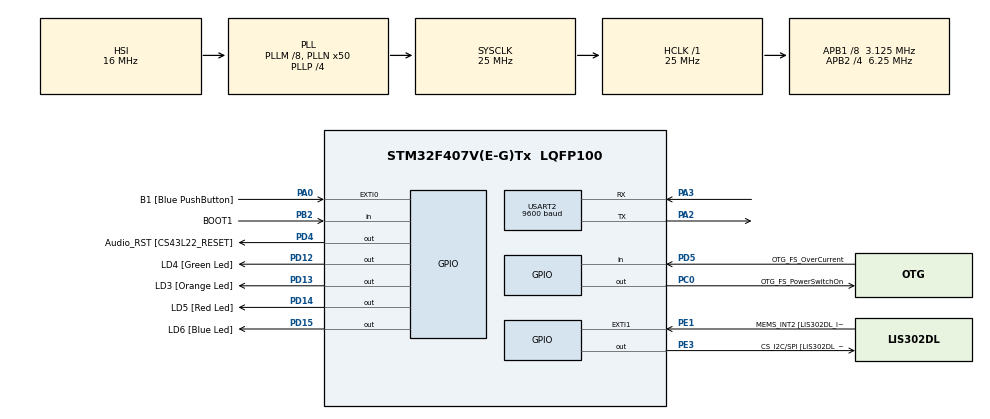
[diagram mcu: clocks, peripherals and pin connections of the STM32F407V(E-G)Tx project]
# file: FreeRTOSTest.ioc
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FREERTOS.Tasks01=defaultTask,0,128,StartDefaultTask,Default
Mcu.Family=STM32F4
Mcu.Name=STM32F407V(E-G)Tx
Mcu.Package=LQFP100
NVIC.PriorityGroup=NVIC_PRIORITYGROUP_4
NVIC.USART2_IRQn=true\:5\:0\:false\:false\:true\:true
PA0-WKUP.GPIO_Label=B1 [Blue PushButton]
PA0-WKUP.GPIO_ModeDefaultEXTI=GPIO_MODE_EVT_RISING
PA0-WKUP.GPIO_PuPd=GPIO_NOPULL
PA0-WKUP.Signal=GPXTI0
PA10.GPIO_Label=OTG_FS_ID
PA10.GPIO_Mode=GPIO_MODE_AF_PP
PA10.GPIO_PuPd=GPIO_NOPULL
PA10.GPIO_Speed=GPIO_SPEED_FREQ_LOW
PA10.Signal=USB_OTG_FS_ID
PA11.GPIO_Label=OTG_FS_DM
PA11.GPIO_Mode=GPIO_MODE_AF_PP
PA11.GPIO_PuPd=GPIO_NOPULL
PA11.GPIO_Speed=GPIO_SPEED_FREQ_LOW
PA11.Signal=USB_OTG_FS_DM
PA12.GPIO_Label=OTG_FS_DP
PA12.GPIO_Mode=GPIO_MODE_AF_PP
PA12.GPIO_PuPd=GPIO_NOPULL
PA12.GPIO_Speed=GPIO_SPEED_FREQ_LOW
PA12.Signal=USB_OTG_FS_DP
PA13.GPIO_Label=SWDIO
PA13.Signal=SYS_JTMS-SWDIO
PA14.GPIO_Label=SWCLK
PA14.Signal=SYS_JTCK-SWCLK
PA2.Mode=Asynchronous
PA2.Signal=USART2_TX
PA3.Mode=Asynchronous
PA3.Signal=USART2_RX
PA4.GPIO_Label=I2S3_WS [CS43L22_LRCK]
PA4.GPIO_Mode=GPIO_MODE_AF_PP
PA4.GPIO_PuPd=GPIO_NOPULL
PA4.GPIO_Speed=GPIO_SPEED_FREQ_LOW
PA4.Signal=I2S3_WS
PA5.GPIO_Label=SPI1_SCK [LIS302DL_SCL/SPC]
PA5.GPIO_Mode=GPIO_MODE_AF_PP
PA5.GPIO_PuPd=GPIO_NOPULL
PA5.GPIO_Speed=GPIO_SPEED_FREQ_LOW
PA5.Signal=SPI1_SCK
PA6.GPIO_Label=SPI1_MISO [LIS302DL_SDO]
PA6.GPIO_Mode=GPIO_MODE_AF_PP
PA6.GPIO_PuPd=GPIO_NOPULL
PA6.GPIO_Speed=GPIO_SPEED_FREQ_LOW
PA6.Signal=SPI1_MISO
PA7.GPIO_Label=SPI1_MOSI [LIS302DL_SDA/SDI/SDO]
PA7.GPIO_Mode=GPIO_MODE_AF_PP
PA7.GPIO_PuPd=GPIO_NOPULL
PA7.GPIO_Speed=GPIO_SPEED_FREQ_LOW
PA7.Signal=SPI1_MOSI
PA9.GPIO_Label=VBUS_FS
PA9.GPIO_Mode=GPIO_MODE_INPUT
PA9.GPIO_PuPd=GPIO_NOPULL
PA9.Signal=USB_OTG_FS_VBUS
PB10.GPIO_Label=CLK_IN [MP45DT02_CLK]
PB10.GPIO_Mode=GPIO_MODE_AF_PP
PB10.GPIO_PuPd=GPIO_NOPULL
PB10.GPIO_Speed=GPIO_SPEED_FREQ_LOW
PB10.Signal=I2S2_CK
PB2.GPIO_Label=BOOT1
PB2.GPIO_Mode=GPIO_MODE_INPUT
PB2.GPIO_PuPd=GPIO_NOPULL
PB2.Signal=GPIO_Input
PB3.GPIO_Label=SWO
PB3.Signal=SYS_JTDO-SWO
PB6.GPIO_Label=Audio_SCL [CS43L22_SCL]
PB6.GPIO_Mode=GPIO_MODE_AF_OD
PB6.GPIO_PuPd=GPIO_NOPULL
PB6.GPIO_Speed=GPIO_SPEED_FREQ_LOW
PB6.Signal=I2C1_SCL
PB9.GPIO_Label=Audio_SDA [CS43L22_SDA]
PB9.GPIO_Mode=GPIO_MODE_AF_OD
PB9.GPIO_PuPd=GPIO_NOPULL
PB9.GPIO_Speed=GPIO_SPEED_FREQ_LOW
PB9.Signal=I2C1_SDA
PC0.GPIO_Label=OTG_FS_PowerSwitchOn
PC0.GPIO_PuPd=GPIO_NOPULL
PC0.GPIO_Speed=GPIO_SPEED_FREQ_LOW
PC0.Signal=GPIO_Output
PC10.GPIO_Label=I2S3_SCK [CS43L22_SCLK]
PC10.GPIO_Mode=GPIO_MODE_AF_PP
PC10.GPIO_PuPd=GPIO_NOPULL
PC10.GPIO_Speed=GPIO_SPEED_FREQ_LOW
PC10.Signal=I2S3_CK
PC12.GPIO_Label=I2S3_SD [CS43L22_SDIN]
PC12.GPIO_Mode=GPIO_MODE_AF_PP
PC12.GPIO_PuPd=GPIO_NOPULL
PC12.GPIO_Speed=GPIO_SPEED_FREQ_LOW
PC12.Signal=I2S3_SD
PC14-OSC32_IN.GPIO_Label=PC14-OSC32_IN
PC14-OSC32_IN.Signal=RCC_OSC32_IN
PC15-OSC32_OUT.GPIO_Label=PC15-OSC32_OUT
PC15-OSC32_OUT.Signal=RCC_OSC32_OUT
PC3.GPIO_Label=PDM_OUT [MP45DT02_DOUT]
PC3.GPIO_Mode=GPIO_MODE_AF_PP
PC3.GPIO_PuPd=GPIO_NOPULL
PC3.GPIO_Speed=GPIO_SPEED_FREQ_LOW
PC3.Signal=I2S2_SD
PC7.GPIO_Label=I2S3_MCK [CS43L22_MCLK]
PC7.GPIO_Mode=GPIO_MODE_AF_PP
PC7.GPIO_PuPd=GPIO_NOPULL
PC7.GPIO_Speed=GPIO_SPEED_FREQ_LOW
PC7.Signal=I2S3_MCK
PD12.GPIO_Label=LD4 [Green Led]
PD12.GPIO_PuPd=GPIO_NOPULL
PD12.GPIO_Speed=GPIO_SPEED_FREQ_LOW
PD12.Signal=GPIO_Output
PD13.GPIO_Label=LD3 [Orange Led]
PD13.GPIO_PuPd=GPIO_NOPULL
PD13.GPIO_Speed=GPIO_SPEED_FREQ_LOW
PD13.Signal=GPIO_Output
PD14.GPIO_Label=LD5 [Red Led]
PD14.GPIO_PuPd=GPIO_NOPULL
PD14.GPIO_Speed=GPIO_SPEED_FREQ_LOW
PD14.Signal=GPIO_Output
PD15.GPIO_Label=LD6 [Blue Led]
PD15.GPIO_PuPd=GPIO_NOPULL
PD15.GPIO_Speed=GPIO_SPEED_FREQ_LOW
PD15.Signal=GPIO_Output
PD4.GPIO_Label=Audio_RST [CS43L22_RESET]
PD4.GPIO_PuPd=GPIO_NOPULL
PD4.GPIO_Speed=GPIO_SPEED_FREQ_LOW
PD4.Signal=GPIO_Output
PD5.GPIO_Label=OTG_FS_OverCurrent
PD5.GPIO_Mode=GPIO_MODE_INPUT
PD5.GPIO_PuPd=GPIO_NOPULL
PD5.Signal=GPIO_Input
PE1.GPIO_Label=MEMS_INT2 [LIS302DL_INT2]
PE1.GPIO_ModeDefaultEXTI=GPIO_MODE_EVT_RISING
PE1.GPIO_PuPd=GPIO_NOPULL
PE1.Signal=GPXTI1
PE3.GPIO_Label=CS_I2C/SPI [LIS302DL_CS_I2C/SPI]
PE3.GPIO_PuPd=GPIO_NOPULL
PE3.GPIO_Speed=GPIO_SPEED_FREQ_LOW
PE3.Signal=GPIO_Output
PH0-OSC_IN.GPIO_Label=PH0-OSC_IN
PH0-OSC_IN.Signal=RCC_OSC_IN
PH1-OSC_OUT.GPIO_Label=PH1-OSC_OUT
PH1-OSC_OUT.Signal=RCC_OSC_OUT
ProjectManager.HeapSize=0x200
ProjectManager.StackSize=0x400
ProjectManager.TargetToolchain=EWARM
RCC.48MHZClocksFreq_Value=14285714.285714285
RCC.AHBFreq_Value=25000000
RCC.APB1CLKDivider=RCC_HCLK_DIV8
RCC.APB1Freq_Value=3125000
RCC.APB1TimFreq_Value=6250000
RCC.APB2CLKDivider=RCC_HCLK_DIV4
RCC.APB2Freq_Value=6250000
RCC.APB2TimFreq_Value=12500000
RCC.CortexFreq_Value=25000000
RCC.HCLKFreq_Value=25000000
RCC.HSE_VALUE=8000000
RCC.HSI_VALUE=16000000
RCC.LSE_VALUE=32768
RCC.PLLM=8
RCC.PLLN=50
RCC.PLLP=RCC_PLLP_DIV4
RCC.PLLQ=7
RCC.SYSCLKFreq_VALUE=25000000
RCC.SYSCLKSource=RCC_SYSCLKSOURCE_PLLCLK
RCC.VCOOutputFreq_Value=100000000
USART2.BaudRate=9600
VP_FREERTOS_VS_ENABLE.Mode=Enabled
board=STM32F4DISCOVERY

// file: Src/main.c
/**
  ******************************************************************************
  * File Name          : main.c
  * Description        : Main program body
  ******************************************************************************
  *
  * COPYRIGHT(c) 2016 STMicroelectronics
  *
  * Redistribution and use in source and binary forms, with or without modification,
  * are permitted provided that the following conditions are met:
  *   1. Redistributions of source code must retain the above copyright notice,
  *      this list of conditions and the following disclaimer.
  *   2. Redistributions in binary form must reproduce the above copyright notice,
  *      this list of conditions and the following disclaimer in the documentation
  *      and/or other materials provided with the distribution.
  *   3. Neither the name of STMicroelectronics nor the names of its contributors
  *      may be used to endorse or promote products derived from this software
  *      without specific prior written permission.
  *
  * THIS SOFTWARE IS PROVIDED BY THE COPYRIGHT HOLDERS AND CONTRIBUTORS "AS IS"
  * AND ANY EXPRESS OR IMPLIED WARRANTIES, INCLUDING, BUT NOT LIMITED TO, THE
  * IMPLIED WARRANTIES OF MERCHANTABILITY AND FITNESS FOR A PARTICULAR PURPOSE ARE
  * DISCLAIMED. IN NO EVENT SHALL THE COPYRIGHT HOLDER OR CONTRIBUTORS BE LIABLE
  * FOR ANY DIRECT, INDIRECT, INCIDENTAL, SPECIAL, EXEMPLARY, OR CONSEQUENTIAL
  * DAMAGES (INCLUDING, BUT NOT LIMITED TO, PROCUREMENT OF SUBSTITUTE GOODS OR
  * SERVICES; LOSS OF USE, DATA, OR PROFITS; OR BUSINESS INTERRUPTION) HOWEVER
  * CAUSED AND ON ANY THEORY OF LIABILITY, WHETHER IN CONTRACT, STRICT LIABILITY,
  * OR TORT (INCLUDING NEGLIGENCE OR OTHERWISE) ARISING IN ANY WAY OUT OF THE USE
  * OF THIS SOFTWARE, EVEN IF ADVISED OF THE POSSIBILITY OF SUCH DAMAGE.
  *
  ******************************************************************************
  */
#include "stm32f4xx_hal.h"
#include "cmsis_os.h"

/* USER CODE BEGIN Includes */
#include "debug.h"
#include "debug_uart.h"
#include "cola.h"

/* USER CODE END Includes */

UART_HandleTypeDef huart2;

osThreadId defaultTaskHandle;

/* USER CODE BEGIN PV */
/* Private variables ---------------------------------------------------------*/
static char *msg_error = "***ERROR*** cola_leer() = -1 ????? \r\n" ;

#define BUFFER_SIZE 1024
static unsigned char buffer[BUFFER_SIZE];
static SemaphoreHandle_t semaforo_debug_isruart;
static int buffer_indice;
static int buffer_indice_max;
static BaseType_t xHigherPriorityTaskWoken;

/* USER CODE END PV */

void SystemClock_Config(void);
void Error_Handler(void);
static void MX_GPIO_Init(void);
static void MX_USART2_UART_Init(void);
void StartDefaultTask(void const * argument);

/* USER CODE BEGIN PFP */
/* Private function prototypes -----------------------------------------------*/

/* USER CODE END PFP */

int main(void)
{

  /* MCU Configuration----------------------------------------------------------*/

  /* Reset of all peripherals, Initializes the Flash interface and the Systick. */
  HAL_Init();

  /* Configure the system clock */
  SystemClock_Config();

  /* Initialize all configured peripherals */
  MX_GPIO_Init();
  MX_USART2_UART_Init();
  //inicializar cola+mutex para almacenar mensajes
  cola_init(&colaDebug);
  //inicializar semaforo compartido entre tarea debuj y la isr de la UART
  semaforo_debug_isruart = xSemaphoreCreateBinary();

  /* Create the thread(s) */
  /* definition and creation of defaultTask */
  osThreadDef(defaultTask, StartDefaultTask, osPriorityNormal, 0, 128);
  defaultTaskHandle = osThreadCreate(osThread(defaultTask), NULL);

  /* Start scheduler */
  osKernelStart();

  /* We should never get here as control is now taken by the scheduler */

  /* Infinite loop */
  while (1)
  {

  }

}

/** System Clock Configuration
*/
void SystemClock_Config(void)
{

  RCC_OscInitTypeDef RCC_OscInitStruct;
  RCC_ClkInitTypeDef RCC_ClkInitStruct;

  __HAL_RCC_PWR_CLK_ENABLE();

  __HAL_PWR_VOLTAGESCALING_CONFIG(PWR_REGULATOR_VOLTAGE_SCALE1);

  RCC_OscInitStruct.OscillatorType = RCC_OSCILLATORTYPE_HSI;
  RCC_OscInitStruct.HSIState = RCC_HSI_ON;
  RCC_OscInitStruct.HSICalibrationValue = 16;
  RCC_OscInitStruct.PLL.PLLState = RCC_PLL_ON;
  RCC_OscInitStruct.PLL.PLLSource = RCC_PLLSOURCE_HSI;
  RCC_OscInitStruct.PLL.PLLM = 8;
  RCC_OscInitStruct.PLL.PLLN = 50;
  RCC_OscInitStruct.PLL.PLLP = RCC_PLLP_DIV4;
  RCC_OscInitStruct.PLL.PLLQ = 7;
  if (HAL_RCC_OscConfig(&RCC_OscInitStruct) != HAL_OK)
  {
    Error_Handler();
  }

  RCC_ClkInitStruct.ClockType = RCC_CLOCKTYPE_HCLK|RCC_CLOCKTYPE_SYSCLK
                              |RCC_CLOCKTYPE_PCLK1|RCC_CLOCKTYPE_PCLK2;
  RCC_ClkInitStruct.SYSCLKSource = RCC_SYSCLKSOURCE_PLLCLK;
  RCC_ClkInitStruct.AHBCLKDivider = RCC_SYSCLK_DIV1;
  RCC_ClkInitStruct.APB1CLKDivider = RCC_HCLK_DIV8;
  RCC_ClkInitStruct.APB2CLKDivider = RCC_HCLK_DIV4;
  if (HAL_RCC_ClockConfig(&RCC_ClkInitStruct, FLASH_LATENCY_0) != HAL_OK)
  {
    Error_Handler();
  }

  HAL_SYSTICK_Config(HAL_RCC_GetHCLKFreq()/1000);

  HAL_SYSTICK_CLKSourceConfig(SYSTICK_CLKSOURCE_HCLK);

  /* SysTick_IRQn interrupt configuration */
  HAL_NVIC_SetPriority(SysTick_IRQn, 0, 0);
}

/* USART2 init function */
static void MX_USART2_UART_Init(void)
{

  huart2.Instance = USART2;
  huart2.Init.BaudRate = 9600;
  huart2.Init.WordLength = UART_WORDLENGTH_8B;
  huart2.Init.StopBits = UART_STOPBITS_1;
  huart2.Init.Parity = UART_PARITY_NONE;
  huart2.Init.Mode = UART_MODE_TX_RX;
  huart2.Init.HwFlowCtl = UART_HWCONTROL_NONE;
  huart2.Init.OverSampling = UART_OVERSAMPLING_16;
  if (HAL_UART_Init(&huart2) != HAL_OK)
  {
    Error_Handler();
  }

}

/** Configure pins as
        * Analog
        * Input
        * Output
        * EVENT_OUT
        * EXTI
     PC3   ------> I2S2_SD
     PA4   ------> I2S3_WS
     PA5   ------> SPI1_SCK
     PA6   ------> SPI1_MISO
     PA7   ------> SPI1_MOSI
     PB10   ------> I2S2_CK
     PC7   ------> I2S3_MCK
     PA9   ------> USB_OTG_FS_VBUS
     PA10   ------> USB_OTG_FS_ID
     PA11   ------> USB_OTG_FS_DM
     PA12   ------> USB_OTG_FS_DP
     PC10   ------> I2S3_CK
     PC12   ------> I2S3_SD
     PB6   ------> I2C1_SCL
     PB9   ------> I2C1_SDA
*/
static void MX_GPIO_Init(void)
{

  GPIO_InitTypeDef GPIO_InitStruct;

  /* GPIO Ports Clock Enable */
  __HAL_RCC_GPIOE_CLK_ENABLE();
  __HAL_RCC_GPIOC_CLK_ENABLE();
  __HAL_RCC_GPIOH_CLK_ENABLE();
  __HAL_RCC_GPIOA_CLK_ENABLE();
  __HAL_RCC_GPIOB_CLK_ENABLE();
  __HAL_RCC_GPIOD_CLK_ENABLE();

  /*Configure GPIO pin Output Level */
  HAL_GPIO_WritePin(CS_I2C_SPI_GPIO_Port, CS_I2C_SPI_Pin, GPIO_PIN_RESET);

  /*Configure GPIO pin Output Level */
  HAL_GPIO_WritePin(OTG_FS_PowerSwitchOn_GPIO_Port, OTG_FS_PowerSwitchOn_Pin, GPIO_PIN_RESET);

  /*Configure GPIO pin Output Level */
  HAL_GPIO_WritePin(GPIOD, LD4_Pin|LD3_Pin|LD5_Pin|LD6_Pin
                          |Audio_RST_Pin, GPIO_PIN_RESET);

  /*Configure GPIO pin : CS_I2C_SPI_Pin */
  GPIO_InitStruct.Pin = CS_I2C_SPI_Pin;
  GPIO_InitStruct.Mode = GPIO_MODE_OUTPUT_PP;
  GPIO_InitStruct.Pull = GPIO_NOPULL;
  GPIO_InitStruct.Speed = GPIO_SPEED_FREQ_LOW;
  HAL_GPIO_Init(CS_I2C_SPI_GPIO_Port, &GPIO_InitStruct);

  /*Configure GPIO pin : OTG_FS_PowerSwitchOn_Pin */
  GPIO_InitStruct.Pin = OTG_FS_PowerSwitchOn_Pin;
  GPIO_InitStruct.Mode = GPIO_MODE_OUTPUT_PP;
  GPIO_InitStruct.Pull = GPIO_NOPULL;
  GPIO_InitStruct.Speed = GPIO_SPEED_FREQ_LOW;
  HAL_GPIO_Init(OTG_FS_PowerSwitchOn_GPIO_Port, &GPIO_InitStruct);

  /*Configure GPIO pin : PDM_OUT_Pin */
  GPIO_InitStruct.Pin = PDM_OUT_Pin;
  GPIO_InitStruct.Mode = GPIO_MODE_AF_PP;
  GPIO_InitStruct.Pull = GPIO_NOPULL;
  GPIO_InitStruct.Speed = GPIO_SPEED_FREQ_LOW;
  GPIO_InitStruct.Alternate = GPIO_AF5_SPI2;
  HAL_GPIO_Init(PDM_OUT_GPIO_Port, &GPIO_InitStruct);

  /*Configure GPIO pin : B1_Pin */
  GPIO_InitStruct.Pin = B1_Pin;
  GPIO_InitStruct.Mode = GPIO_MODE_EVT_RISING;
  GPIO_InitStruct.Pull = GPIO_NOPULL;
  HAL_GPIO_Init(B1_GPIO_Port, &GPIO_InitStruct);

  /*Configure GPIO pin : PA4 */
  GPIO_InitStruct.Pin = GPIO_PIN_4;
  GPIO_InitStruct.Mode = GPIO_MODE_AF_PP;
  GPIO_InitStruct.Pull = GPIO_NOPULL;
  GPIO_InitStruct.Speed = GPIO_SPEED_FREQ_LOW;
  GPIO_InitStruct.Alternate = GPIO_AF6_SPI3;
  HAL_GPIO_Init(GPIOA, &GPIO_InitStruct);

  /*Configure GPIO pins : PA5 PA6 PA7 */
  GPIO_InitStruct.Pin = GPIO_PIN_5|GPIO_PIN_6|GPIO_PIN_7;
  GPIO_InitStruct.Mode = GPIO_MODE_AF_PP;
  GPIO_InitStruct.Pull = GPIO_NOPULL;
  GPIO_InitStruct.Speed = GPIO_SPEED_FREQ_LOW;
  GPIO_InitStruct.Alternate = GPIO_AF5_SPI1;
  HAL_GPIO_Init(GPIOA, &GPIO_InitStruct);

  /*Configure GPIO pin : BOOT1_Pin */
  GPIO_InitStruct.Pin = BOOT1_Pin;
  GPIO_InitStruct.Mode = GPIO_MODE_INPUT;
  GPIO_InitStruct.Pull = GPIO_NOPULL;
  HAL_GPIO_Init(BOOT1_GPIO_Port, &GPIO_InitStruct);

  /*Configure GPIO pin : CLK_IN_Pin */
  GPIO_InitStruct.Pin = CLK_IN_Pin;
  GPIO_InitStruct.Mode = GPIO_MODE_AF_PP;
  GPIO_InitStruct.Pull = GPIO_NOPULL;
  GPIO_InitStruct.Speed = GPIO_SPEED_FREQ_LOW;
  GPIO_InitStruct.Alternate = GPIO_AF5_SPI2;
  HAL_GPIO_Init(CLK_IN_GPIO_Port, &GPIO_InitStruct);

  /*Configure GPIO pins : LD4_Pin LD3_Pin LD5_Pin LD6_Pin
                           Audio_RST_Pin */
  GPIO_InitStruct.Pin = LD4_Pin|LD3_Pin|LD5_Pin|LD6_Pin
                          |Audio_RST_Pin;
  GPIO_InitStruct.Mode = GPIO_MODE_OUTPUT_PP;
  GPIO_InitStruct.Pull = GPIO_NOPULL;
  GPIO_InitStruct.Speed = GPIO_SPEED_FREQ_LOW;
  HAL_GPIO_Init(GPIOD, &GPIO_InitStruct);

  /*Configure GPIO pins : PC7 I2S3_SCK_Pin PC12 */
  GPIO_InitStruct.Pin = GPIO_PIN_7|I2S3_SCK_Pin|GPIO_PIN_12;
  GPIO_InitStruct.Mode = GPIO_MODE_AF_PP;
  GPIO_InitStruct.Pull = GPIO_NOPULL;
  GPIO_InitStruct.Speed = GPIO_SPEED_FREQ_LOW;
  GPIO_InitStruct.Alternate = GPIO_AF6_SPI3;
  HAL_GPIO_Init(GPIOC, &GPIO_InitStruct);

  /*Configure GPIO pin : VBUS_FS_Pin */
  GPIO_InitStruct.Pin = VBUS_FS_Pin;
  GPIO_InitStruct.Mode = GPIO_MODE_INPUT;
  GPIO_InitStruct.Pull = GPIO_NOPULL;
  HAL_GPIO_Init(VBUS_FS_GPIO_Port, &GPIO_InitStruct);

  /*Configure GPIO pins : OTG_FS_ID_Pin OTG_FS_DM_Pin OTG_FS_DP_Pin */
  GPIO_InitStruct.Pin = OTG_FS_ID_Pin|OTG_FS_DM_Pin|OTG_FS_DP_Pin;
  GPIO_InitStruct.Mode = GPIO_MODE_AF_PP;
  GPIO_InitStruct.Pull = GPIO_NOPULL;
  GPIO_InitStruct.Speed = GPIO_SPEED_FREQ_LOW;
  GPIO_InitStruct.Alternate = GPIO_AF10_OTG_FS;
  HAL_GPIO_Init(GPIOA, &GPIO_InitStruct);

  /*Configure GPIO pin : OTG_FS_OverCurrent_Pin */
  GPIO_InitStruct.Pin = OTG_FS_OverCurrent_Pin;
  GPIO_InitStruct.Mode = GPIO_MODE_INPUT;
  GPIO_InitStruct.Pull = GPIO_NOPULL;
  HAL_GPIO_Init(OTG_FS_OverCurrent_GPIO_Port, &GPIO_InitStruct);

  /*Configure GPIO pins : Audio_SCL_Pin Audio_SDA_Pin */
  GPIO_InitStruct.Pin = Audio_SCL_Pin|Audio_SDA_Pin;
  GPIO_InitStruct.Mode = GPIO_MODE_AF_OD;
  GPIO_InitStruct.Pull = GPIO_PULLUP;
  GPIO_InitStruct.Speed = GPIO_SPEED_FREQ_LOW;
  GPIO_InitStruct.Alternate = GPIO_AF4_I2C1;
  HAL_GPIO_Init(GPIOB, &GPIO_InitStruct);

  /*Configure GPIO pin : MEMS_INT2_Pin */
  GPIO_InitStruct.Pin = MEMS_INT2_Pin;
  GPIO_InitStruct.Mode = GPIO_MODE_EVT_RISING;
  GPIO_InitStruct.Pull = GPIO_NOPULL;
  HAL_GPIO_Init(MEMS_INT2_GPIO_Port, &GPIO_InitStruct);

}

/* StartDefaultTask function */
void StartDefaultTask(void const * argument)
{

  /* USER CODE BEGIN DebugTask */
  int i, res_leer;

  /* Infinite loop */
  cola_guardar(&colaDebug, "\r\n");
  //cola_guardar(&colaDebug, "Mensaje desde DebugTask ... inicializando\r\n");

  /* USER CODE BEGIN 5 */

  /* Infinite loop */
  for(;;)
  {
    res_leer = cola_leer(&colaDebug, buffer, BUFFER_SIZE);
    while (res_leer == 0) {
    vTaskDelay( 5 );
    res_leer = cola_leer(&colaDebug, buffer, BUFFER_SIZE);
    }
    if (res_leer == -1){
      //copiar en buffer mensaje de error
      for(i=0; msg_error[i] != '\n'; i++){
          buffer[i] = msg_error[i];
      }
      res_leer = i;
    }

    //Activar transmisiСn de la UART para transmitir el mensaje
    //almacenado en buffer que es de res_leer caracteres
    buffer_indice = 0;
    buffer_indice_max = res_leer - 1;
    HAL_UART_Transmit_IT (&huart2, buffer, sizeof(buffer));

     //Esperar a que la UART nos de permiso para continuar ..
     //Significa que el mensaje del buffer ya se ha enviado completamente
     xSemaphoreTake( semaforo_debug_isruart, portMAX_DELAY /* (TickType_t)10 */ );
  }
  /* USER CODE END 5 */
}

void Error_Handler(void)
{
  while(1)
  {
  }
}

/************************ (C) COPYRIGHT STMicroelectronics *****END OF FILE****/
